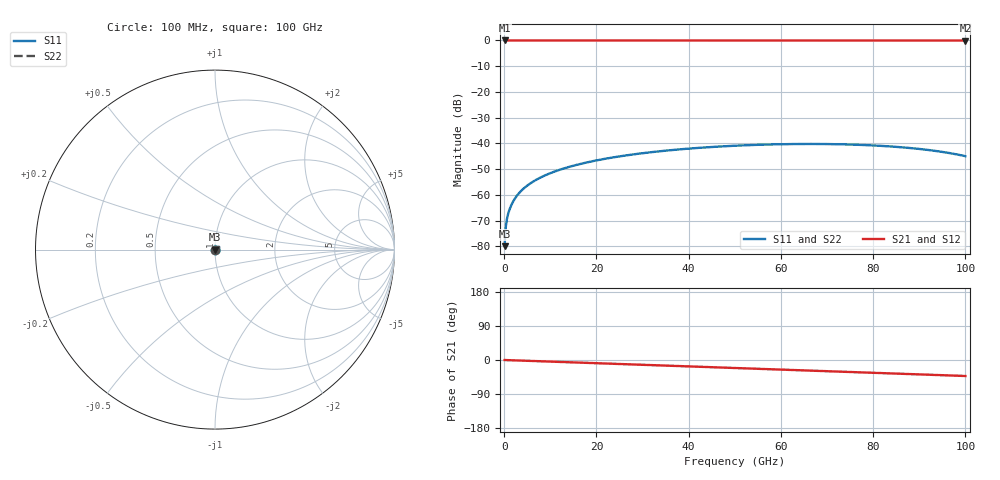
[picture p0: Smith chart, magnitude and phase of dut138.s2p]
! Touchstone file exported from HFSS 2026.1.0
!  File:  C:/ffzhzh/LocalFiles/Ansys_Project_Files/temp_train_TSV_138_1783506403_41296.aedt
!  Generated:  06:27:58 PM Jul  8, 2026
!  Design:  TSV
!  Project:  temp_train_TSV_138_1783506403_41296
! Variables:
!  h_bsmrdl = 2um
!  h_ox = 20um
!  h_rdl = 5um
!  h_sub = 81.74um
!  h_tmrdl = 5um
!  h_tsv = 81.74um
!  h_via = 3um
!  l_bsmrdl = 300um
!  l_sub = 428.04um
!  l_tmrdl = 200um
!  m_sub = 200um
!  pitch = 57.67um
!  r_tsv = 14.02um
!  s_tmrdl = 10um
!  w_bsmrdl = 18um
!  w_sub = 500um
!  w_tmrdl = 12um
!  x_tsv_center1 = 206um
!  x_tsv_center2 = 524um
!  x_tsv_center3 = 736um
!  x_tsv_center4 = 1054um
!  x_tsv_center5 = 1266um
!  x_tsv_center6 = 1584um
# GHz S MA R 50.000000
! Terminal data exported
! Port[1] = TSV1_1_T1
! Port[2] = TSV1_1_T2
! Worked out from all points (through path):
!   1000 points, 100 MHz to 100 GHz, reference 50 ohm
!   highest |S21| = 0.00 dB at 100 MHz (marker M1); lowest = 0.0 dB at 100 GHz (marker M2)
!   group delay of S21, straight-line fit = 1.17 ps
!   lowest |S11| = -79.9 dB at 100 MHz (marker M3), VSWR 1.00, Z = 50 + j0.00638 ohm
!   |S11| at or under -10 dB: start of sweep to end of sweep
!   |S22| runs from -79.9 to -40.2 dB; largest |S21 - S12| = 7.4e-15
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0.1  0.0001007 39.3  0.9999 -0.0  0.9999 -0.0  0.0001007 39.3
! Gamma 0 0 0 0
! Port Impedance 50 0 50 0
0.3  0.0002074 56.9  0.9999 -0.1  0.9999 -0.1  0.0002074 56.9
0.8  0.0004067 59.6  0.9998 -0.3  0.9998 -0.3  0.0004067 59.6
1  0.0004692 60.5  0.9998 -0.4  0.9998 -0.4  0.0004692 60.5
1.3  0.000558 61.9  0.9997 -0.6  0.9997 -0.6  0.000558 61.9
1.8  0.0007009 63.9  0.9997 -0.8  0.9997 -0.8  0.0007009 63.9
2.4  0.000866 65.4  0.9997 -1.0  0.9997 -1.0  0.000866 65.4
3.1  0.00105 66.6  0.9996 -1.3  0.9996 -1.3  0.00105 66.6
3.9  0.00125 67.5  0.9996 -1.7  0.9996 -1.7  0.00125 67.5
6.1  0.001769 69.1  0.9994 -2.6  0.9994 -2.6  0.001769 69.1
9  0.002421 70.0  0.9993 -3.8  0.9993 -3.8  0.002421 70.0
12.5  0.003169 70.0  0.9992 -5.3  0.9992 -5.3  0.003169 70.0
16.8  0.004045 69.6  0.9991 -7.1  0.9991 -7.1  0.004045 69.6
24.3  0.005467 68.0  0.9989 -10.2  0.9989 -10.2  0.005466 68.0
33.4  0.006985 65.2  0.9986 -14.0  0.9986 -14.0  0.006983 65.3
41.4  0.008096 62.3  0.9985 -17.4  0.9985 -17.4  0.008093 62.5
50.1  0.009018 58.9  0.9983 -21.0  0.9983 -21.0  0.009015 59.1
66.7  0.009749 51.7  0.998 -28.0  0.998 -28.0  0.009743 51.9
75.4  0.009481 47.4  0.9978 -31.7  0.9978 -31.7  0.009473 47.7
83.4  0.008768 43.0  0.9977 -35.1  0.9977 -35.1  0.008757 43.4
92.4  0.007367 37.1  0.9975 -39.0  0.9975 -39.0  0.007351 37.7
100  0.005641 30.2  0.9972 -42.2  0.9972 -42.2  0.005617 31.2
